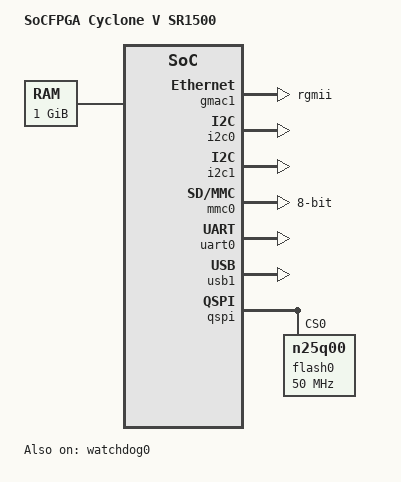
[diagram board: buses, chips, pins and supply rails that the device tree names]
/*
 * Copyright (C) 2015 Stefan Roese <sr@denx.de>
 *
 * SPDX-License-Identifier:	GPL-2.0+
 */

#include "socfpga_cyclone5.dtsi"

/ {
	model = "SoCFPGA Cyclone V SR1500";
	compatible = "anonymous,socfpga-sr1500", "altr,socfpga-cyclone5", "altr,socfpga";

	chosen {
		bootargs = "console=ttyS0,115200";
	};

	aliases {
		/*
		 * This allows the ethaddr uboot environmnet variable
		 * contents to be added to the gmac1 device tree blob.
		 */
		ethernet0 = &gmac1;
	};

	memory@0 {
		name = "memory";
		device_type = "memory";
		reg = <0x0 0x40000000>; /* 1GB */
	};

	soc {
		u-boot,dm-pre-reloc;
	};
};

&gmac1 {
	status = "okay";
	phy-mode = "rgmii";
};

&gpio0 {
	status = "okay";
};

&gpio1 {
	status = "okay";
};

&gpio2 {
	status = "okay";
};

&i2c0 {
	status = "okay";
	speed-mode = <0>;
};

&i2c1 {
	status = "okay";
	speed-mode = <0>;
};

&mmc0 {
	status = "okay";
	bus-width = <8>;
	u-boot,dm-pre-reloc;
};

&uart0 {
	status = "okay";
};

&usb1 {
	status = "okay";
};

&watchdog0 {
	status = "okay";
};

&qspi {
	status = "okay";
	u-boot,dm-pre-reloc;

	flash0: n25q00@0 {
		u-boot,dm-pre-reloc;
		#address-cells = <1>;
		#size-cells = <1>;
		compatible = "n25q00", "spi-flash";
		reg = <0>;      /* chip select */
		spi-max-frequency = <50000000>;
		m25p,fast-read;
		page-size = <256>;
		block-size = <16>; /* 2^16, 64KB */
		read-delay = <4>;  /* delay value in read data capture register */
		tshsl-ns = <50>;
		tsd2d-ns = <50>;
		tchsh-ns = <4>;
		tslch-ns = <4>;
	};
};
